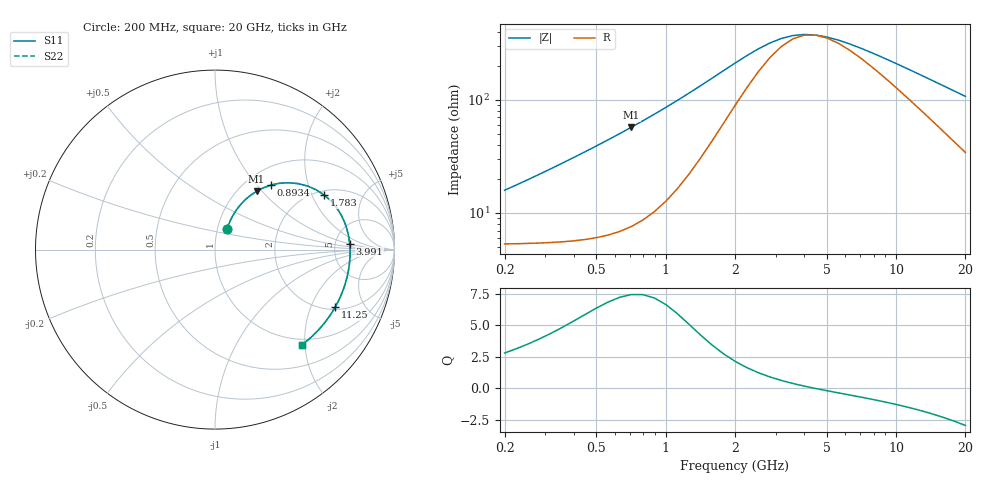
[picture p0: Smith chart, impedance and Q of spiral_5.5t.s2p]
# GHz S RI R 50
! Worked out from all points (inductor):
!   41 points, 200 MHz to 20 GHz, reference 50 ohm
!   read as 1/Y11, port 2 shorted: L = 11.9 nH near 224.4 MHz
!   highest Q = 7.45 at 709.6 MHz (marker M1), where L = 12.7 nH
!   self-resonance near 4.421 GHz
!   S11 on the Smith chart (normalised r, x): 200 MHz: 1.11, +0.25; 893.4 MHz: 1.28, +1.20; 1.783 GHz: 2.20, +2.48; 3.991 GHz: 6.87, +1.04; 11.25 GHz: 2.12, -3.03; 20 GHz: 0.89, -1.94
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0.2  0.0664 0.1123  0.9285 -0.1514  0.9285 -0.1514  0.0664 0.1123
0.2825075  0.0826 0.156  0.9076 -0.2102  0.9076 -0.2102  0.0826 0.156
0.3990525  0.1137 0.2128  0.8674 -0.2869  0.8674 -0.2869  0.1137 0.2128
0.5636766  0.1714 0.2804  0.7934 -0.3787  0.7934 -0.3787  0.1714 0.2804
0.7096268  0.232 0.3251  0.7163 -0.4408  0.7163 -0.4408  0.232 0.3251
0.8933672  0.3133 0.3599  0.6129 -0.492  0.6129 -0.492  0.3133 0.3599
1.261915  0.4649 0.3675  0.4196 -0.5179  0.4196 -0.5179  0.4649 0.3675
1.782502  0.6099 0.3031  0.2286 -0.4592  0.2286 -0.4592  0.6099 0.3031
2.517851  0.7039 0.1914  0.0943 -0.3426  0.0943 -0.3426  0.7039 0.1914
3.556559  0.745 0.0716  0.024 -0.2153  0.024 -0.2153  0.745 0.0716
3.990525  0.7504 0.033  0.0114 -0.1751  0.0114 -0.1751  0.7504 0.033
5.023773  0.752 -0.0428  -0.00195 -0.0993  -0.00195 -0.0993  0.752 -0.0428
5.636766  0.7489 -0.0805  -0.00355 -0.0635  -0.00355 -0.0635  0.7489 -0.0805
6.324555  0.7432 -0.1185  -0.00211 -0.0289  -0.00211 -0.0289  0.7432 -0.1185
7.096268  0.735 -0.157  0.00231 0.00469  0.00231 0.00469  0.735 -0.157
7.962143  0.7239 -0.1964  0.00977 0.0373  0.00977 0.0373  0.7239 -0.1964
8.933672  0.7097 -0.2367  0.0204 0.069  0.0204 0.069  0.7097 -0.2367
10.02374  0.6918 -0.278  0.0345 0.0996  0.0345 0.0996  0.6918 -0.278
11.24683  0.67 -0.3203  0.0523 0.1289  0.0523 0.1289  0.67 -0.3203
14.15892  0.6123 -0.4063  0.1001 0.182  0.1001 0.182  0.6123 -0.4063
17.82502  0.5336 -0.4905  0.1648 0.2225  0.1648 0.2225  0.5336 -0.4905
20  0.486 -0.5299  0.2029 0.2357  0.2029 0.2357  0.486 -0.5299
